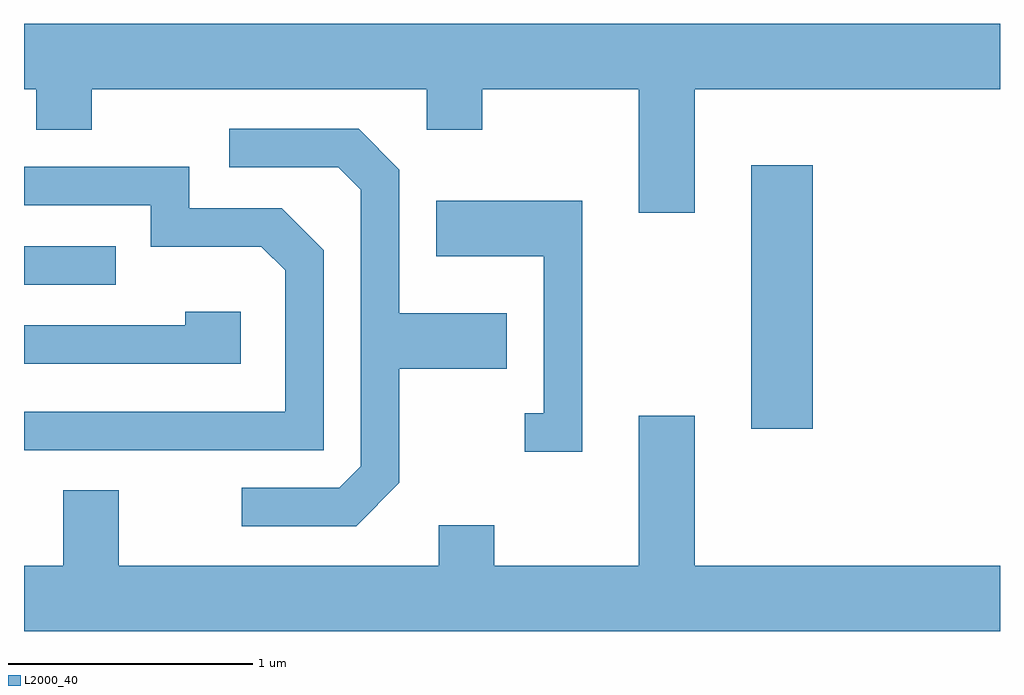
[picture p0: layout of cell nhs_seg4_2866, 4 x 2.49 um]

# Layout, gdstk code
import gdstk
lib = gdstk.Library(unit=1e-6, precision=1e-09)
def R(c, l, rs):  # rectangles x0, y0, x1, y1
    for r in rs: c.add(gdstk.rectangle(r[:2], r[2:], *l))
def P(c, l, *ps):  # polygons
    for p in ps: c.add(gdstk.Polygon(p, *l))
L2000_40 = (2000, 40)

nhs_seg4_2866 = lib.new_cell('nhs_seg4_2866')
R(nhs_seg4_2866, L2000_40, [(272.591,1275.586,272.844,1276.664), (269.611,1276.176,269.988,1276.334)])
P(nhs_seg4_2866, L2000_40, [(272.359,1276.976),(273.611,1276.976),(273.611,1277.244),(269.611,1277.244),(269.611,1276.976),(269.661,1276.976),(269.661,1276.811),(269.889,1276.811),(269.889,1276.976),(271.261,1276.976),(271.261,1276.811),(271.489,1276.811),(271.489,1276.976),(272.131,1276.976),(272.131,1276.471),(272.359,1276.471)],
  [(271.149,1275.364),(271.149,1275.831),(271.589,1275.831),(271.589,1276.059),(271.149,1276.059),(271.149,1276.647),(270.982,1276.814),(270.453,1276.814),(270.453,1276.656),(270.899,1276.656),(270.991,1276.564),(270.991,1275.432),(270.904,1275.344),(270.503,1275.344),(270.503,1275.186),(270.972,1275.186)],
  [(270.839,1276.317),(270.667,1276.489),(270.289,1276.489),(270.289,1276.659),(269.611,1276.659),(269.611,1276.501),(270.131,1276.501),(270.131,1276.331),(270.584,1276.331),(270.681,1276.234),(270.681,1275.654),(269.611,1275.654),(269.611,1275.496),(270.839,1275.496)],
  [(271.899,1276.519),(271.301,1276.519),(271.301,1276.291),(271.741,1276.291),(271.741,1275.649),(271.663,1275.649),(271.663,1275.491),(271.899,1275.491)],
  [(270.499,1276.064),(270.271,1276.064),(270.271,1276.009),(269.611,1276.009),(269.611,1275.851),(270.499,1275.851)],
  [(273.611,1275.024),(272.359,1275.024),(272.359,1275.639),(272.131,1275.639),(272.131,1275.024),(271.539,1275.024),(271.539,1275.189),(271.311,1275.189),(271.311,1275.024),(269.999,1275.024),(269.999,1275.334),(269.771,1275.334),(269.771,1275.024),(269.611,1275.024),(269.611,1274.756),(273.611,1274.756)])

lib.write_gds('nhs_seg4_2866.gds')
